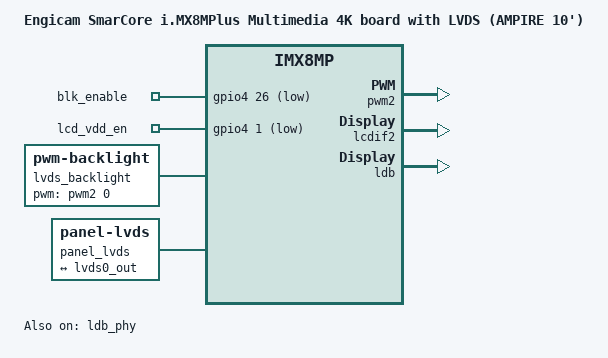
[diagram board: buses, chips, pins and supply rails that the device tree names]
// SPDX-License-Identifier: (GPL-2.0+ OR MIT)
/*
 * Copyright 2022 Engicam
 */

/dts-v1/;

#include "imx8mp-smarcore-multimedia-4k.dts"

/ {
	model = "Engicam SmarCore i.MX8MPlus Multimedia 4K board with LVDS (AMPIRE 10')";
	compatible = "engi,imx8-smarcore", "fsl,imx8mp";
  
	gpio_export {
		compatible = "gpio-export";
		#size-cells = <0>;
    
		BLK_ENABLE
		{
			gpio-export,name = "blk_enable";
			gpio-export,output = <1>;
			gpios = <&gpio4 26 1>;
		};

		LCD_VDD_EN
		{
			gpio-export,name = "lcd_vdd_en";
			gpio-export,output = <1>;
			gpios = <&gpio4 1 1>;
		};
	};
  
	lvds_backlight: lvds_backlight {
		compatible = "pwm-backlight";
		pwms = <&pwm2 0 100000>;
		status = "okay";

		brightness-levels = < 0  1  2  3  4  5  6  7  8  9
				     10 11 12 13 14 15 16 17 18 19
				     20 21 22 23 24 25 26 27 28 29
				     30 31 32 33 34 35 36 37 38 39
				     40 41 42 43 44 45 46 47 48 49
				     50 51 52 53 54 55 56 57 58 59
				     60 61 62 63 64 65 66 67 68 69
				     70 71 72 73 74 75 76 77 78 79
				     80 81 82 83 84 85 86 87 88 89
				     90 91 92 93 94 95 96 97 98 99
				    100>;
		default-brightness-level = <80>;
	};

	panel_lvds: panel-lvds {
		compatible = "panel-lvds";

		width-mm = <210>;
		height-mm = <158>;
		data-mapping = "vesa-24";
		status = "okay";

		panel-timing {
			/* 1280x800 @85Hz */
			clock-frequency = <85000000>;
			hactive = <1280>;
			vactive = <800>;
			hsync-len = <136>;
			hfront-porch = <20>;
			hback-porch = <160>;
			vfront-porch = <3>;
			vback-porch = <29>;
			vsync-len = <6>;
		};

		port {
			panel_in_lvds: endpoint {
				remote-endpoint = <&lvds0_out>;
			};
		};
	};
};

&pwm2 {
	pinctrl-names = "default";
	pinctrl-0 = <&pinctrl_pwm2>;
	status = "okay";
};

&lcdif2 {
	status = "okay";
};

&ldb {
	status = "okay";

	lvds-channel@0 {
		fsl,data-mapping = "spwg";
		fsl,data-width = <24>;
		status = "okay";

		port@1 {
			reg = <1>;

			lvds0_out: endpoint {
				remote-endpoint = <&panel_in_lvds>;
			};
		};
	};
};

&ldb_phy {
	status = "okay";
};

&iomuxc {
	
	pinctrl-names = "default";
	pinctrl-0 = <&pinctrl_hog>;
	pinctrl_hog: hoggrp {
		fsl,pins = <
			MX8MP_IOMUXC_SAI2_TXD0__GPIO4_IO26		0x19 // BLK_ENABLE
			MX8MP_IOMUXC_SAI1_RXC__GPIO4_IO01 0x19 // LCD_VDD_EN
		>;
	};
	
	pinctrl_pwm2: pwm2grp {
		fsl,pins = <
			MX8MP_IOMUXC_GPIO1_IO11__PWM2_OUT	0x116
		>;
	};
};
